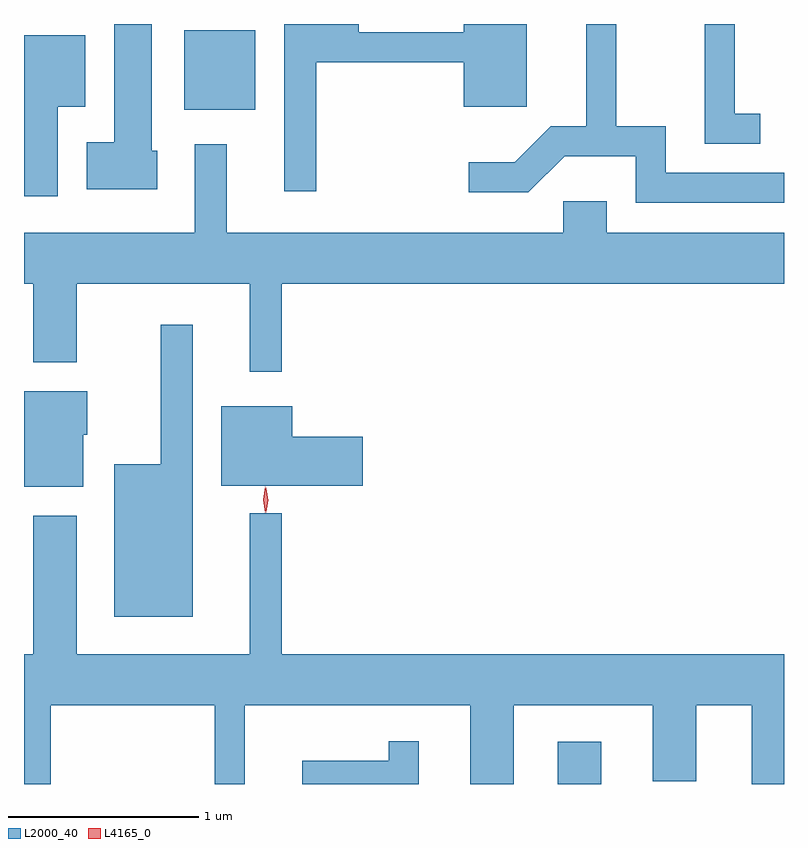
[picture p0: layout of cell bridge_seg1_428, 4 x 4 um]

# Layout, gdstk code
import gdstk
lib = gdstk.Library(unit=1e-6, precision=1e-09)
def R(c, l, rs):  # rectangles x0, y0, x1, y1
    for r in rs: c.add(gdstk.rectangle(r[:2], r[2:], *l))
def P(c, l, *ps):  # polygons
    for p in ps: c.add(gdstk.Polygon(p, *l))
L2000_40 = (2000, 40)
L4165_0 = (4165, 0)

bridge_seg1_428 = lib.new_cell('bridge_seg1_428')
R(bridge_seg1_428, L2000_40, [(250.561,856.982,250.789,857.204), (248.596,860.531,248.969,860.949)])
P(bridge_seg1_428, L2000_40, [(248.454,860.314),(248.424,860.314),(248.424,860.982),(248.226,860.982),(248.226,860.359),(248.081,860.359),(248.081,860.111),(248.454,860.111)],
  [(249.289,860.781),(250.066,860.781),(250.066,860.546),(250.399,860.546),(250.399,860.982),(250.066,860.982),(250.066,860.939),(249.514,860.939),(249.514,860.982),(249.121,860.982),(249.121,860.103),(249.289,860.103)],
  [(251.752,860.199),(251.129,860.199),(251.129,860.444),(250.869,860.444),(250.869,860.982),(250.711,860.982),(250.711,860.444),(250.524,860.444),(250.334,860.254),(250.093,860.254),(250.093,860.096),(250.407,860.096),(250.597,860.286),(250.971,860.286),(250.971,860.041),(251.752,860.041)],
  [(251.628,860.509),(251.494,860.509),(251.494,860.982),(251.336,860.982),(251.336,860.351),(251.628,860.351)],
  [(247.929,860.546),(248.074,860.546),(248.074,860.924),(247.752,860.924),(247.752,860.076),(247.929,860.076)],
  [(249.109,859.616),(251.752,859.616),(251.752,859.884),(250.819,859.884),(250.819,860.049),(250.591,860.049),(250.591,859.884),(248.819,859.884),(248.819,860.348),(248.651,860.348),(248.651,859.884),(247.752,859.884),(247.752,859.616),(247.801,859.616),(247.801,859.201),(248.029,859.201),(248.029,859.616),(248.941,859.616),(248.941,859.153),(249.109,859.153)],
  [(248.639,859.398),(248.471,859.398),(248.471,858.664),(248.226,858.664),(248.226,857.861),(248.639,857.861)],
  [(248.064,858.821),(248.084,858.821),(248.084,859.049),(247.752,859.049),(247.752,858.546),(248.064,858.546)],
  [(249.534,858.809),(249.164,858.809),(249.164,858.969),(248.791,858.969),(248.791,858.551),(249.534,858.551)],
  [(247.894,857.396),(248.756,857.396),(248.756,856.982),(248.914,856.982),(248.914,857.396),(250.101,857.396),(250.101,856.982),(250.329,856.982),(250.329,857.396),(251.061,857.396),(251.061,856.996),(251.289,856.996),(251.289,857.396),(251.581,857.396),(251.581,856.982),(251.752,856.982),(251.752,857.664),(249.109,857.664),(249.109,858.408),(248.941,858.408),(248.941,857.664),(248.029,857.664),(248.029,858.394),(247.801,858.394),(247.801,857.664),(247.752,857.664),(247.752,856.982),(247.894,856.982)],
  [(249.829,857.208),(249.671,857.208),(249.671,857.104),(249.216,857.104),(249.216,856.982),(249.829,856.982)])
P(bridge_seg1_428, L4165_0, [(249.027,858.413),(249.018,858.476),(249.027,858.539),(249.028,858.54),(249.028,858.539),(249.038,858.476),(249.028,858.413),(249.028,858.413)],
  [(249.022,858.41),(249.022,858.41),(249.012,858.478),(249.021,858.546),(249.022,858.546),(249.022,858.546),(249.032,858.478),(249.023,858.41)])

lib.write_gds('bridge_seg1_428.gds')
